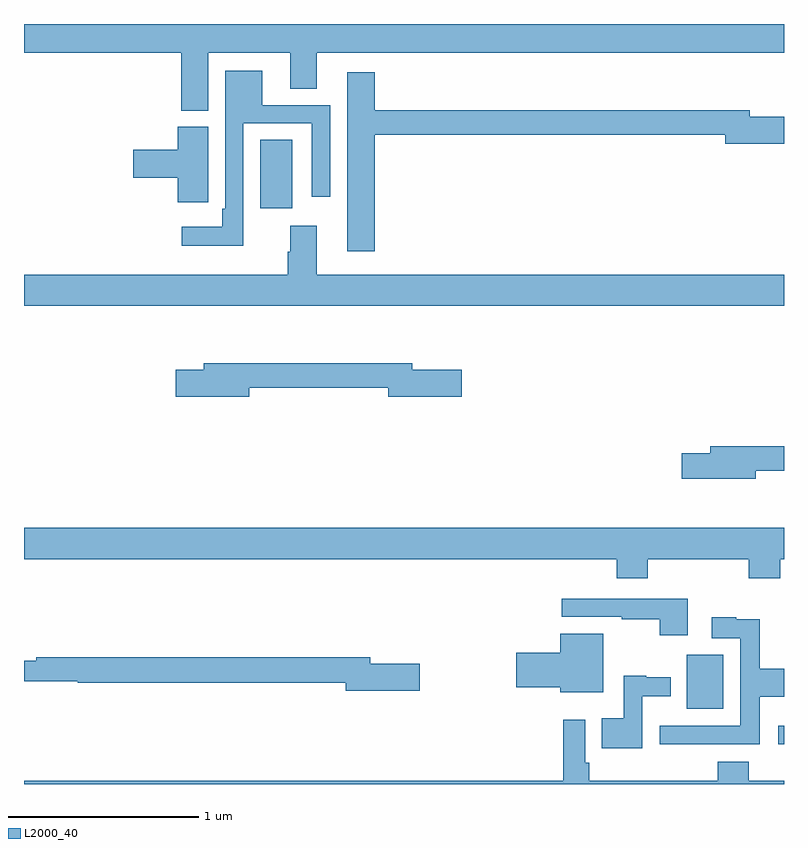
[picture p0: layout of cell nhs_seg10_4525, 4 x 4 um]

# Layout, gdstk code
import gdstk
lib = gdstk.Library(unit=1e-6, precision=1e-09)
def R(c, l, rs):  # rectangles x0, y0, x1, y1
    for r in rs: c.add(gdstk.rectangle(r[:2], r[2:], *l))
def P(c, l, *ps):  # polygons
    for p in ps: c.add(gdstk.Polygon(p, *l))
L2000_40 = (2000, 40)

nhs_seg10_4525 = lib.new_cell('nhs_seg10_4525')
R(nhs_seg10_4525, L2000_40, [(372.969,1264.709,373,1264.807), (372.488,1264.895,372.679,1265.179), (370.244,1267.53,370.411,1267.892)])
P(nhs_seg10_4525, L2000_40, [(369.97,1268.348),(370.4,1268.348),(370.4,1268.158),(370.54,1268.158),(370.54,1268.348),(373,1268.348),(373,1268.5),(369,1268.5),(369,1268.348),(369.827,1268.348),(369.827,1268.044),(369.97,1268.044)],
  [(370.155,1267.977),(370.515,1267.977),(370.515,1267.59),(370.611,1267.59),(370.611,1268.073),(370.255,1268.073),(370.255,1268.254),(370.059,1268.254),(370.059,1267.528),(370.043,1267.528),(370.043,1267.432),(369.831,1267.432),(369.831,1267.334),(370.155,1267.334)],
  [(370.847,1267.918),(372.692,1267.918),(372.692,1267.871),(373,1267.871),(373,1268.013),(372.82,1268.013),(372.82,1268.047),(370.847,1268.047),(370.847,1268.245),(370.7,1268.245),(370.7,1267.305),(370.847,1267.305)],
  [(369.969,1267.675),(369.97,1267.675),(369.97,1267.959),(369.809,1267.959),(369.809,1267.838),(369.576,1267.838),(369.576,1267.691),(369.809,1267.691),(369.809,1267.563),(369.969,1267.563)],
  [(373,1267.18),(370.54,1267.18),(370.54,1267.438),(370.4,1267.438),(370.4,1267.301),(370.388,1267.301),(370.388,1267.18),(369,1267.18),(369,1267.016),(373,1267.016)],
  [(370.186,1266.586),(370.916,1266.586),(370.916,1266.539),(371.305,1266.539),(371.305,1266.681),(371.044,1266.681),(371.044,1266.715),(369.947,1266.715),(369.947,1266.681),(369.798,1266.681),(369.798,1266.539),(370.186,1266.539)],
  [(372.85,1266.15),(373,1266.15),(373,1266.278),(372.611,1266.278),(372.611,1266.242),(372.462,1266.242),(372.462,1266.107),(372.85,1266.107)],
  [(372.284,1265.684),(372.815,1265.684),(372.815,1265.582),(372.98,1265.582),(372.98,1265.684),(373,1265.684),(373,1265.848),(369,1265.848),(369,1265.684),(372.119,1265.684),(372.119,1265.582),(372.284,1265.582)],
  [(372.493,1265.475),(371.829,1265.475),(371.829,1265.379),(372.145,1265.379),(372.145,1265.367),(372.346,1265.367),(372.346,1265.283),(372.493,1265.283)],
  [(372.566,1264.71),(372.872,1264.71),(372.872,1264.958),(373,1264.958),(373,1265.106),(372.872,1265.106),(372.872,1265.366),(372.749,1265.366),(372.749,1265.377),(372.621,1265.377),(372.621,1265.268),(372.771,1265.268),(372.771,1264.806),(372.345,1264.806),(372.345,1264.709),(372.566,1264.709)],
  [(372.049,1265.29),(371.822,1265.29),(371.822,1265.192),(371.592,1265.192),(371.592,1265.009),(371.822,1265.009),(371.822,1264.982),(372.049,1264.982)],
  [(371.083,1265.132),(370.822,1265.132),(370.822,1265.168),(369.064,1265.168),(369.064,1265.149),(369,1265.149),(369,1265.04),(369.284,1265.04),(369.284,1265.032),(370.694,1265.032),(370.694,1264.99),(371.083,1264.99)],
  [(372.255,1264.961),(372.403,1264.961),(372.403,1265.061),(372.276,1265.061),(372.276,1265.071),(372.156,1265.071),(372.156,1264.846),(372.04,1264.846),(372.04,1264.688),(372.255,1264.688)],
  [(373,1264.516),(372.815,1264.516),(372.815,1264.618),(372.65,1264.618),(372.65,1264.516),(371.975,1264.516),(371.975,1264.612),(371.955,1264.612),(371.955,1264.837),(371.839,1264.837),(371.839,1264.516),(369,1264.516),(369,1264.5),(373,1264.5)])

lib.write_gds('nhs_seg10_4525.gds')
